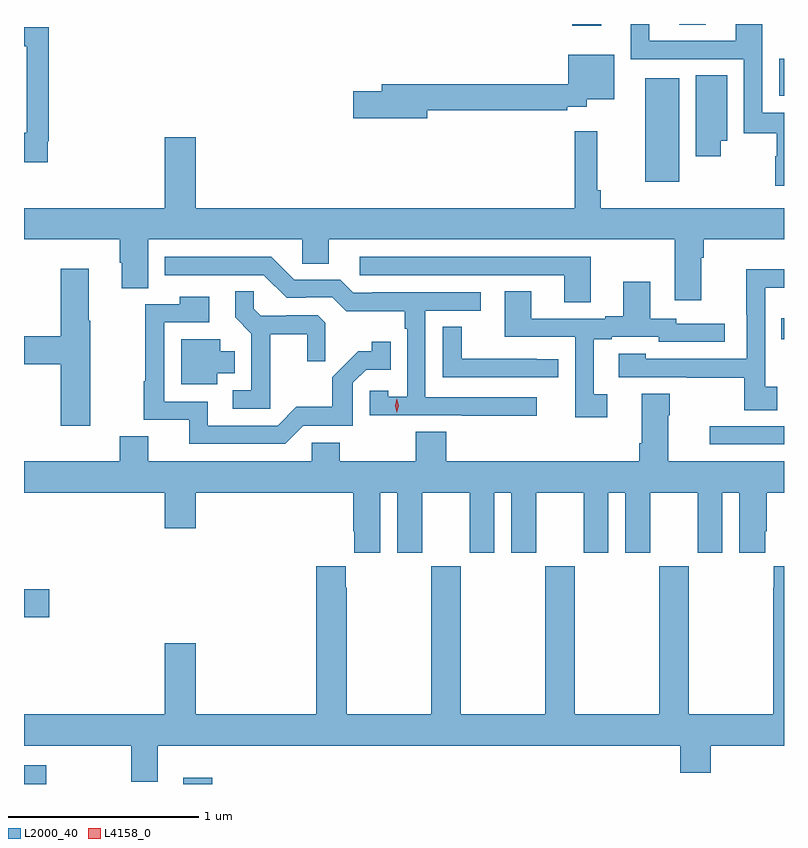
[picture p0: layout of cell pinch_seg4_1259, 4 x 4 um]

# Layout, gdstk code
import gdstk
lib = gdstk.Library(unit=1e-6, precision=1e-09)
def R(c, l, rs):  # rectangles x0, y0, x1, y1
    for r in rs: c.add(gdstk.rectangle(r[:2], r[2:], *l))
def P(c, l, *ps):  # polygons
    for p in ps: c.add(gdstk.Polygon(p, *l))
L2000_40 = (2000, 40)
L4158_0 = (4158, 0)

pinch_seg4_1259 = lib.new_cell('pinch_seg4_1259')
R(pinch_seg4_1259, L2000_40, [(380.891,775.306,381.044,775.339), (380.052,776.183,380.185,776.33), (383.661,777.093,384.052,777.189), (384.037,777.648,384.052,777.757), (383.321,778.475,383.5,779.02), (384.026,778.928,384.052,779.122), (382.937,779.298,383.089,779.306), (383.501,779.302,383.641,779.306)])
P(pinch_seg4_1259, L2000_40, [(384.052,778.839),(383.937,778.839),(383.937,779.306),(383.798,779.306),(383.798,779.217),(383.344,779.217),(383.344,779.306),(383.246,779.306),(383.246,779.121),(383.841,779.121),(383.841,778.731),(384.014,778.731),(384.014,778.611),(384.007,778.611),(384.007,778.454),(384.052,778.454)],
  [(380.176,778.69),(380.183,778.69),(380.183,779.288),(380.052,779.288),(380.052,779.19),(380.067,779.19),(380.067,778.734),(380.052,778.734),(380.052,778.578),(380.176,778.578)],
  [(382.174,778.852),(382.91,778.852),(382.91,778.871),(383.013,778.871),(383.013,778.91),(383.158,778.91),(383.158,779.143),(382.917,779.143),(382.917,778.988),(381.935,778.988),(381.935,778.952),(381.786,778.952),(381.786,778.81),(382.174,778.81)],
  [(383.718,778.691),(383.752,778.691),(383.752,779.036),(383.588,779.036),(383.588,778.611),(383.718,778.611)],
  [(383.617,778.076),(383.63,778.076),(383.63,778.172),(384.052,778.172),(384.052,778.336),(383.087,778.336),(383.087,778.432),(383.07,778.432),(383.07,778.741),(382.951,778.741),(382.951,778.336),(380.956,778.336),(380.956,778.711),(380.792,778.711),(380.792,778.336),(380.052,778.336),(380.052,778.172),(380.555,778.172),(380.555,778.05),(380.567,778.05),(380.567,777.916),(380.707,777.916),(380.707,778.172),(381.516,778.172),(381.516,778.045),(381.655,778.045),(381.655,778.172),(383.477,778.172),(383.477,777.852),(383.617,777.852)],
  [(383.035,778.08),(381.819,778.08),(381.819,777.984),(382.895,777.984),(382.895,777.841),(383.035,777.841)],
  [(382.75,777.342),(382.164,777.342),(382.164,777.798),(382.456,777.798),(382.456,777.894),(381.886,777.894),(381.886,777.891),(381.786,777.891),(381.717,777.96),(381.474,777.96),(381.354,778.08),(380.792,778.08),(380.792,777.984),(381.315,777.984),(381.435,777.864),(381.536,777.864),(381.536,777.867),(381.675,777.867),(381.748,777.794),(382.056,777.794),(382.056,777.701),(382.068,777.701),(382.068,777.343),(381.969,777.343),(381.969,777.375),(381.873,777.375),(381.873,777.246),(382.357,777.246),(382.357,777.244),(382.75,777.244)],
  [(380.4,777.745),(380.392,777.745),(380.392,778.018),(380.246,778.018),(380.246,777.662),(380.052,777.662),(380.052,777.515),(380.246,777.515),(380.246,777.192),(380.4,777.192)],
  [(384.016,777.396),(383.952,777.396),(383.952,777.917),(384.052,777.917),(384.052,778.015),(383.854,778.015),(383.854,777.776),(383.856,777.776),(383.856,777.543),(383.325,777.543),(383.325,777.571),(383.181,777.571),(383.181,777.447),(383.539,777.447),(383.539,777.445),(383.844,777.445),(383.844,777.274),(384.016,777.274)],
  [(383.122,777.357),(383.05,777.357),(383.05,777.648),(383.146,777.648),(383.146,777.66),(383.394,777.66),(383.394,777.633),(383.74,777.633),(383.74,777.729),(383.484,777.729),(383.484,777.756),(383.347,777.756),(383.347,777.949),(383.207,777.949),(383.207,777.769),(383.111,777.769),(383.111,777.756),(382.723,777.756),(382.723,777.899),(382.583,777.899),(382.583,777.66),(382.953,777.66),(382.953,777.237),(383.122,777.237)],
  [(381.347,777.674),(381.544,777.674),(381.544,777.531),(381.638,777.531),(381.638,777.733),(381.597,777.774),(381.432,777.774),(381.432,777.771),(381.298,777.771),(381.261,777.808),(381.261,777.899),(381.163,777.899),(381.163,777.763),(381.249,777.677),(381.249,777.378),(381.15,777.378),(381.15,777.282),(381.347,777.282)],
  [(381.522,777.192),(381.783,777.192),(381.783,777.417),(381.852,777.486),(381.983,777.486),(381.983,777.634),(381.882,777.634),(381.882,777.584),(381.812,777.584),(381.675,777.446),(381.675,777.291),(381.486,777.291),(381.387,777.192),(381.019,777.192),(381.019,777.318),(380.79,777.318),(380.79,777.735),(381.028,777.735),(381.028,777.871),(380.872,777.871),(380.872,777.831),(380.689,777.831),(380.689,777.425),(380.682,777.425),(380.682,777.222),(380.921,777.222),(380.921,777.096),(381.426,777.096)],
  [(382.864,777.542),(382.751,777.542),(382.751,777.543),(382.356,777.543),(382.356,777.713),(382.257,777.713),(382.257,777.447),(382.864,777.447)],
  [(381.07,777.467),(381.16,777.467),(381.16,777.583),(381.085,777.583),(381.085,777.646),(380.879,777.646),(380.879,777.41),(381.07,777.41)],
  [(381.928,776.84),(382.016,776.84),(382.016,776.523),(382.147,776.523),(382.147,776.84),(382.397,776.84),(382.397,776.523),(382.528,776.523),(382.528,776.84),(382.616,776.84),(382.616,776.523),(382.747,776.523),(382.747,776.84),(382.997,776.84),(382.997,776.523),(383.128,776.523),(383.128,776.84),(383.216,776.84),(383.216,776.523),(383.347,776.523),(383.347,776.84),(383.597,776.84),(383.597,776.523),(383.728,776.523),(383.728,776.84),(383.816,776.84),(383.816,776.523),(383.953,776.523),(383.953,776.635),(383.96,776.635),(383.96,776.84),(384.052,776.84),(384.052,777.004),(383.443,777.004),(383.443,777.248),(383.451,777.248),(383.451,777.361),(383.303,777.361),(383.303,777.1),(383.291,777.1),(383.291,777.004),(382.274,777.004),(382.274,777.161),(382.114,777.161),(382.114,777.004),(381.714,777.004),(381.714,777.102),(381.567,777.102),(381.567,777.004),(380.707,777.004),(380.707,777.137),(380.555,777.137),(380.555,777.004),(380.052,777.004),(380.052,776.84),(380.792,776.84),(380.792,776.652),(380.956,776.652),(380.956,776.84),(381.785,776.84),(381.785,776.635),(381.791,776.635),(381.791,776.523),(381.928,776.523)],
  [(380.755,775.508),(383.507,775.508),(383.507,775.366),(383.667,775.366),(383.667,775.508),(384.052,775.508),(384.052,776.452),(383.999,776.452),(383.999,776.339),(383.995,776.339),(383.995,775.672),(383.55,775.672),(383.55,776.452),(383.395,776.452),(383.395,775.672),(382.95,775.672),(382.95,776.452),(382.795,776.452),(382.795,775.672),(382.35,775.672),(382.35,776.452),(382.195,776.452),(382.195,775.672),(381.75,775.672),(381.75,776.339),(381.745,776.339),(381.745,776.452),(381.59,776.452),(381.59,775.672),(380.956,775.672),(380.956,776.047),(380.792,776.047),(380.792,775.672),(380.052,775.672),(380.052,775.508),(380.616,775.508),(380.616,775.318),(380.755,775.318)],
  [(380.17,775.405),(380.053,775.405),(380.053,775.336),(380.052,775.336),(380.052,775.306),(380.17,775.306)])
P(pinch_seg4_1259, L4158_0, [(382.015,777.261),(382.015,777.262),(382.005,777.297),(382.015,777.333),(382.015,777.333),(382.015,777.333),(382.025,777.297),(382.015,777.262)])

lib.write_gds('pinch_seg4_1259.gds')
